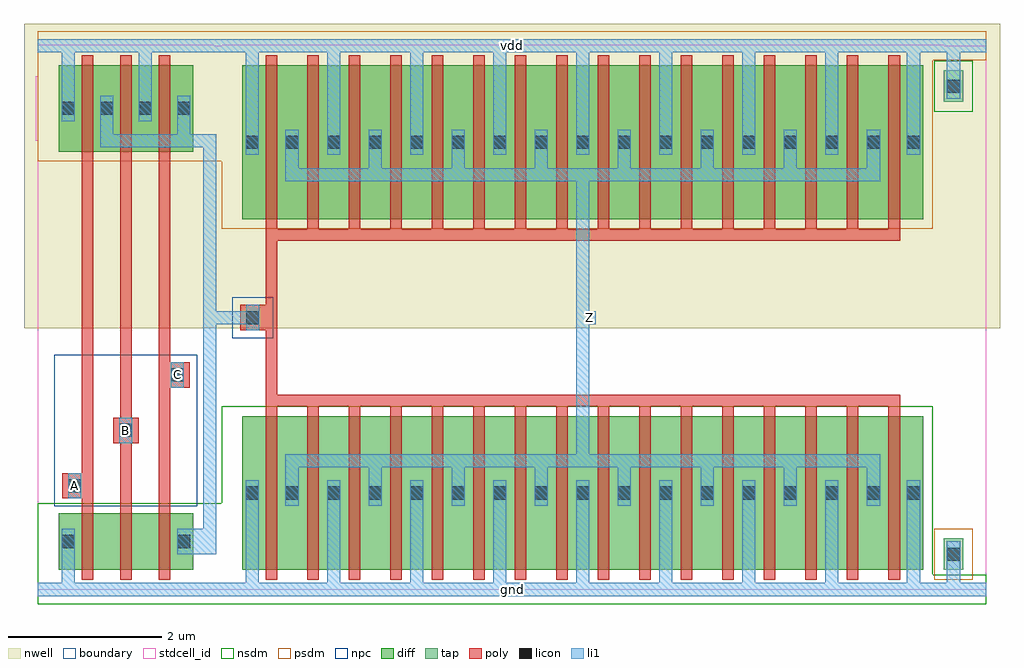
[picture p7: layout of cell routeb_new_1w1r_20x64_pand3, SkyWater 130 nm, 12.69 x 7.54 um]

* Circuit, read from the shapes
.subckt routeb_new_1w1r_20x64_pand3 A B C Z gnd vdd
XM1 routeb_new_1w1r_20x64_pnand3_0/routeb_new_1w1r_20x64_nmos_m1_w0_740_sli_dactive_3/D A gnd gnd sky130_fd_pr__nfet_01v8 w=0.74 l=0.15
XM2 routeb_new_1w1r_20x64_pnand3_0/routeb_new_1w1r_20x64_nmos_m1_w0_740_sactive_dactive_4/D B routeb_new_1w1r_20x64_pnand3_0/routeb_new_1w1r_20x64_nmos_m1_w0_740_sli_dactive_3/D gnd sky130_fd_pr__nfet_01v8 w=0.74 l=0.15
XM3 routeb_new_1w1r_20x64_pdriver_2_1/A C routeb_new_1w1r_20x64_pnand3_0/routeb_new_1w1r_20x64_nmos_m1_w0_740_sactive_dactive_4/D gnd sky130_fd_pr__nfet_01v8 w=0.74 l=0.15
XM4 Z routeb_new_1w1r_20x64_pdriver_2_1/A gnd gnd sky130_fd_pr__nfet_01v8 w=2 l=0.15 m=16
XM5 routeb_new_1w1r_20x64_pdriver_2_1/A A vdd vdd sky130_fd_pr__pfet_01v8 w=1.12 l=0.15
XM6 vdd B routeb_new_1w1r_20x64_pdriver_2_1/A vdd sky130_fd_pr__pfet_01v8 w=1.12 l=0.15
XM7 routeb_new_1w1r_20x64_pdriver_2_1/A C vdd vdd sky130_fd_pr__pfet_01v8 w=1.12 l=0.15
XM8 Z routeb_new_1w1r_20x64_pdriver_2_1/A vdd vdd sky130_fd_pr__pfet_01v8 w=2 l=0.15 m=16
.ends

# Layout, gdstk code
import gdstk
lib = gdstk.Library(unit=1e-6, precision=1e-09)
def R(c, l, rs):  # rectangles x0, y0, x1, y1
    for r in rs: c.add(gdstk.rectangle(r[:2], r[2:], *l))
def A(c, l, x, y, w, h, nx, ny, dx, dy):  # array of equal rectangles
    R(c, l, [(x+i*dx, y+j*dy, x+i*dx+w, y+j*dy+h) for i in range(nx) for j in range(ny)])
nwell = (64, 20)
diff = (65, 20)
tap = (65, 44)
poly = (66, 20)
licon = (66, 44)
li1 = (67, 20)
stdcell_id = (81, 4)
nsdm = (93, 44)
psdm = (94, 20)
npc = (95, 20)
boundary = (235, 4)

routeb_new_1w1r_20x64_co = lib.new_cell('routeb_new_1w1r_20x64_contact_11')
R(routeb_new_1w1r_20x64_co, nwell, [(-0.295,-0.255,0.545,0.585)])
R(routeb_new_1w1r_20x64_co, diff, [(0,0.02,0.25,0.31)])
R(routeb_new_1w1r_20x64_co, licon, [(0.04,0.08,0.21,0.25)])
R(routeb_new_1w1r_20x64_co, li1, [(0.04,0,0.21,0.33)])
R(routeb_new_1w1r_20x64_co, stdcell_id, [(-0.295,-0.255,0.545,0.585)])
R(routeb_new_1w1r_20x64_co, psdm, [(-0.125,-0.105,0.375,0.435)])
R(routeb_new_1w1r_20x64_co, boundary, [(-0.295,-0.255,0.545,0.585)])

routeb_new_1w1r_20x64_pm = lib.new_cell('routeb_new_1w1r_20x64_pmos_m1_w1_120_sli_dli')
R(routeb_new_1w1r_20x64_pm, nwell, [(-0.27,-0.27,1.02,1.39)])
R(routeb_new_1w1r_20x64_pm, diff, [(0,0,0.75,1.12)])
R(routeb_new_1w1r_20x64_pm, poly, [(0.3,-0.13,0.45,1.25), (0.3,-0.13,0.45,1.25)])
R(routeb_new_1w1r_20x64_pm, li1, [(0.04,0.395,0.21,0.725), (0.54,0.395,0.71,0.725)])
R(routeb_new_1w1r_20x64_pm, stdcell_id, [(-0.27,-0.27,1.02,1.39)])
R(routeb_new_1w1r_20x64_pm, psdm, [(-0.125,-0.125,0.875,1.245)])
R(routeb_new_1w1r_20x64_pm, boundary, [(-0.27,-0.27,1.02,1.39)])
routeb_new_1w1r_20x64_pm.add(gdstk.Reference(routeb_new_1w1r_20x64_co, (0,0.395)))
routeb_new_1w1r_20x64_pm.add(gdstk.Reference(routeb_new_1w1r_20x64_co, (0.5,0.395)))
routeb_new_1w1r_20x64_pm.add(gdstk.Label('G', (0.375,0.56), layer=66, texttype=5))
routeb_new_1w1r_20x64_pm.add(gdstk.Label('S', (0.125,0.56), layer=67, texttype=5))
routeb_new_1w1r_20x64_pm.add(gdstk.Label('D', (0.625,0.56), layer=67, texttype=5))

c_routeb_new_1w1r_20x64_co = lib.new_cell('routeb_new_1w1r_20x64_contact_10')
R(c_routeb_new_1w1r_20x64_co, diff, [(0,0.02,0.25,0.31)])
R(c_routeb_new_1w1r_20x64_co, licon, [(0.04,0.08,0.21,0.25)])
R(c_routeb_new_1w1r_20x64_co, li1, [(0.04,0,0.21,0.33)])
R(c_routeb_new_1w1r_20x64_co, stdcell_id, [(-0.125,-0.105,0.375,0.435)])
R(c_routeb_new_1w1r_20x64_co, nsdm, [(-0.125,-0.105,0.375,0.435)])
R(c_routeb_new_1w1r_20x64_co, boundary, [(-0.125,-0.105,0.375,0.435)])

routeb_new_1w1r_20x64_nm = lib.new_cell('routeb_new_1w1r_20x64_nmos_m1_w0_740_sli_dactive')
R(routeb_new_1w1r_20x64_nm, diff, [(0,0,0.75,0.74), (0.55,0.295,0.7,0.445)])
R(routeb_new_1w1r_20x64_nm, poly, [(0.3,-0.13,0.45,0.87), (0.3,-0.13,0.45,0.87)])
R(routeb_new_1w1r_20x64_nm, li1, [(0.04,0.205,0.21,0.535)])
R(routeb_new_1w1r_20x64_nm, stdcell_id, [(-0.125,-0.13,0.875,0.87)])
R(routeb_new_1w1r_20x64_nm, nsdm, [(-0.125,-0.125,0.875,0.865)])
R(routeb_new_1w1r_20x64_nm, boundary, [(-0.125,-0.13,0.875,0.87)])
routeb_new_1w1r_20x64_nm.add(gdstk.Reference(c_routeb_new_1w1r_20x64_co, (0,0.205)))
routeb_new_1w1r_20x64_nm.add(gdstk.Label('G', (0.375,0.37), layer=66, texttype=5))
routeb_new_1w1r_20x64_nm.add(gdstk.Label('S', (0.125,0.37), layer=67, texttype=5))
routeb_new_1w1r_20x64_nm.add(gdstk.Label('D', (0.625,0.37), layer=65, texttype=5))

c_routeb_new_1w1r_20x64_nm = lib.new_cell('routeb_new_1w1r_20x64_nmos_m1_w0_740_sactive_dactive')
R(c_routeb_new_1w1r_20x64_nm, diff, [(0,0,0.75,0.74), (0.05,0.295,0.2,0.445), (0.55,0.295,0.7,0.445)])
R(c_routeb_new_1w1r_20x64_nm, poly, [(0.3,-0.13,0.45,0.87), (0.3,-0.13,0.45,0.87)])
R(c_routeb_new_1w1r_20x64_nm, stdcell_id, [(-0.125,-0.13,0.875,0.87)])
R(c_routeb_new_1w1r_20x64_nm, nsdm, [(-0.125,-0.125,0.875,0.865)])
R(c_routeb_new_1w1r_20x64_nm, boundary, [(-0.125,-0.13,0.875,0.87)])
c_routeb_new_1w1r_20x64_nm.add(gdstk.Label('G', (0.375,0.37), layer=66, texttype=5))
c_routeb_new_1w1r_20x64_nm.add(gdstk.Label('S', (0.125,0.37), layer=65, texttype=5))
c_routeb_new_1w1r_20x64_nm.add(gdstk.Label('D', (0.625,0.37), layer=65, texttype=5))

c_routeb_new_1w1r_20x64_nm_ = lib.new_cell('routeb_new_1w1r_20x64_nmos_m1_w0_740_sactive_dli')
R(c_routeb_new_1w1r_20x64_nm_, diff, [(0,0,0.75,0.74), (0.05,0.295,0.2,0.445)])
R(c_routeb_new_1w1r_20x64_nm_, poly, [(0.3,-0.13,0.45,0.87), (0.3,-0.13,0.45,0.87)])
R(c_routeb_new_1w1r_20x64_nm_, li1, [(0.54,0.205,0.71,0.535)])
R(c_routeb_new_1w1r_20x64_nm_, stdcell_id, [(-0.125,-0.13,0.875,0.87)])
R(c_routeb_new_1w1r_20x64_nm_, nsdm, [(-0.125,-0.125,0.875,0.865)])
R(c_routeb_new_1w1r_20x64_nm_, boundary, [(-0.125,-0.13,0.875,0.87)])
c_routeb_new_1w1r_20x64_nm_.add(gdstk.Reference(c_routeb_new_1w1r_20x64_co, (0.5,0.205)))
c_routeb_new_1w1r_20x64_nm_.add(gdstk.Label('G', (0.375,0.37), layer=66, texttype=5))
c_routeb_new_1w1r_20x64_nm_.add(gdstk.Label('S', (0.125,0.37), layer=65, texttype=5))
c_routeb_new_1w1r_20x64_nm_.add(gdstk.Label('D', (0.625,0.37), layer=67, texttype=5))

c_routeb_new_1w1r_20x64_co_ = lib.new_cell('routeb_new_1w1r_20x64_contact_15')
R(c_routeb_new_1w1r_20x64_co_, poly, [(0,0,0.33,0.33)])
R(c_routeb_new_1w1r_20x64_co_, licon, [(0.08,0.08,0.25,0.25)])
R(c_routeb_new_1w1r_20x64_co_, li1, [(0.08,0,0.25,0.33)])
R(c_routeb_new_1w1r_20x64_co_, stdcell_id, [(-0.1,-0.1,0.43,0.43)])
R(c_routeb_new_1w1r_20x64_co_, npc, [(-0.1,-0.1,0.43,0.43)])
R(c_routeb_new_1w1r_20x64_co_, boundary, [(-0.1,-0.1,0.43,0.43)])

routeb_new_1w1r_20x64_pn = lib.new_cell('routeb_new_1w1r_20x64_pnand3')
R(routeb_new_1w1r_20x64_pn, nwell, [(-0.18,3.395,2.57,7.355)])
A(routeb_new_1w1r_20x64_pn, poly, 0.57, 1.125, 0.15, 4.44, 3, 1, 0.5, 0)
R(routeb_new_1w1r_20x64_pn, poly, [(0.48,1.185,0.57,1.515), (1.07,1.905,1.145,2.235), (1.57,2.625,1.81,2.955)])
R(routeb_new_1w1r_20x64_pn, li1, [(0,-0.085,2.39,0.085), (0.31,-0.085,0.48,0.46), (1.895,0.46,2.235,0.79), (2.15,0.46,2.32,5.835), (0.395,1.185,0.565,1.515), (1.06,1.905,1.23,2.235), (1.725,2.625,1.895,2.955), (0.81,5.75,0.98,5.92), (0.895,5.75,2.235,5.92), (1.81,5.75,1.98,5.92), (1.895,5.75,2.235,5.92), (2.15,5.75,2.32,5.92), (0.81,5.835,0.98,6.255), (1.81,5.835,1.98,6.255), (0.31,6.09,0.48,7.155), (1.31,6.09,1.48,7.155), (0,6.985,2.39,7.155)])
R(routeb_new_1w1r_20x64_pn, stdcell_id, [(0,0,2.39,7.07), (0,0,2.39,7.07)])
R(routeb_new_1w1r_20x64_pn, nsdm, [(0,-0.19,2.39,0.19), (0,0,2.39,1.12)])
R(routeb_new_1w1r_20x64_pn, psdm, [(0,5.57,2.39,7.07), (0,6.88,2.39,7.26)])
R(routeb_new_1w1r_20x64_pn, npc, [(0.215,1.085,2.075,3.055)])
R(routeb_new_1w1r_20x64_pn, boundary, [(0,0,2.39,7.07), (0,0,2.39,7.07)])
routeb_new_1w1r_20x64_pn.add(gdstk.Reference(routeb_new_1w1r_20x64_pm, (0.27,5.695)))
routeb_new_1w1r_20x64_pn.add(gdstk.Reference(routeb_new_1w1r_20x64_pm, (0.77,5.695)))
routeb_new_1w1r_20x64_pn.add(gdstk.Reference(routeb_new_1w1r_20x64_pm, (1.27,5.695)))
routeb_new_1w1r_20x64_pn.add(gdstk.Reference(routeb_new_1w1r_20x64_nm, (0.27,0.255)))
routeb_new_1w1r_20x64_pn.add(gdstk.Reference(c_routeb_new_1w1r_20x64_nm, (0.77,0.255)))
routeb_new_1w1r_20x64_pn.add(gdstk.Reference(c_routeb_new_1w1r_20x64_nm_, (1.27,0.255)))
routeb_new_1w1r_20x64_pn.add(gdstk.Reference(c_routeb_new_1w1r_20x64_co_, (0.315,1.185)))
routeb_new_1w1r_20x64_pn.add(gdstk.Reference(c_routeb_new_1w1r_20x64_co_, (0.98,1.905)))
routeb_new_1w1r_20x64_pn.add(gdstk.Reference(c_routeb_new_1w1r_20x64_co_, (1.645,2.625)))
routeb_new_1w1r_20x64_pn.add(gdstk.Label('A', (0.48,1.35), layer=67, texttype=5))
routeb_new_1w1r_20x64_pn.add(gdstk.Label('B', (1.145,2.07), layer=67, texttype=5))
routeb_new_1w1r_20x64_pn.add(gdstk.Label('C', (1.81,2.79), layer=67, texttype=5))
routeb_new_1w1r_20x64_pn.add(gdstk.Label('Z', (2.235,5.835), layer=67, texttype=5))
routeb_new_1w1r_20x64_pn.add(gdstk.Label('gnd', (1.195,0), layer=67, texttype=5))
routeb_new_1w1r_20x64_pn.add(gdstk.Label('vdd', (1.195,7.07), layer=67, texttype=5))

c_routeb_new_1w1r_20x64_pm = lib.new_cell('routeb_new_1w1r_20x64_pmos_m16_w2_000_sli_dli_da_p')
R(c_routeb_new_1w1r_20x64_pm, nwell, [(-0.27,-0.27,9.12,2.27)])
R(c_routeb_new_1w1r_20x64_pm, diff, [(0,0,8.85,2)])
A(c_routeb_new_1w1r_20x64_pm, poly, 0.3, -0.13, 0.15, 2.26, 16, 1, 0.54, 0)
R(c_routeb_new_1w1r_20x64_pm, poly, [(0.3,-0.28,8.55,-0.13)])
A(c_routeb_new_1w1r_20x64_pm, li1, 0.56, 0.58, 0.17, 0.42, 8, 1, 1.08, 0)
A(c_routeb_new_1w1r_20x64_pm, li1, 1.1, 0.835, 0.17, 0.33, 7, 1, 1.08, 0)
R(c_routeb_new_1w1r_20x64_pm, li1, [(0.56,0.495,8.29,0.665), (0.04,0.835,0.21,1.165), (8.64,0.835,8.81,1.165)])
R(c_routeb_new_1w1r_20x64_pm, stdcell_id, [(-0.27,-0.28,9.12,2.27)])
R(c_routeb_new_1w1r_20x64_pm, psdm, [(-0.125,-0.125,8.975,2.125)])
R(c_routeb_new_1w1r_20x64_pm, boundary, [(-0.27,-0.28,9.12,2.27)])
c_routeb_new_1w1r_20x64_pm.add(gdstk.Reference(routeb_new_1w1r_20x64_co, (0,0.835)))
c_routeb_new_1w1r_20x64_pm.add(gdstk.Reference(routeb_new_1w1r_20x64_co, (0.52,0.835)))
c_routeb_new_1w1r_20x64_pm.add(gdstk.Reference(routeb_new_1w1r_20x64_co, (1.06,0.835)))
c_routeb_new_1w1r_20x64_pm.add(gdstk.Reference(routeb_new_1w1r_20x64_co, (1.6,0.835)))
c_routeb_new_1w1r_20x64_pm.add(gdstk.Reference(routeb_new_1w1r_20x64_co, (2.14,0.835)))
c_routeb_new_1w1r_20x64_pm.add(gdstk.Reference(routeb_new_1w1r_20x64_co, (2.68,0.835)))
c_routeb_new_1w1r_20x64_pm.add(gdstk.Reference(routeb_new_1w1r_20x64_co, (3.22,0.835)))
c_routeb_new_1w1r_20x64_pm.add(gdstk.Reference(routeb_new_1w1r_20x64_co, (3.76,0.835)))
c_routeb_new_1w1r_20x64_pm.add(gdstk.Reference(routeb_new_1w1r_20x64_co, (4.3,0.835)))
c_routeb_new_1w1r_20x64_pm.add(gdstk.Reference(routeb_new_1w1r_20x64_co, (4.84,0.835)))
c_routeb_new_1w1r_20x64_pm.add(gdstk.Reference(routeb_new_1w1r_20x64_co, (5.38,0.835)))
c_routeb_new_1w1r_20x64_pm.add(gdstk.Reference(routeb_new_1w1r_20x64_co, (5.92,0.835)))
c_routeb_new_1w1r_20x64_pm.add(gdstk.Reference(routeb_new_1w1r_20x64_co, (6.46,0.835)))
c_routeb_new_1w1r_20x64_pm.add(gdstk.Reference(routeb_new_1w1r_20x64_co, (7,0.835)))
c_routeb_new_1w1r_20x64_pm.add(gdstk.Reference(routeb_new_1w1r_20x64_co, (7.54,0.835)))
c_routeb_new_1w1r_20x64_pm.add(gdstk.Reference(routeb_new_1w1r_20x64_co, (8.08,0.835)))
c_routeb_new_1w1r_20x64_pm.add(gdstk.Reference(routeb_new_1w1r_20x64_co, (8.6,0.835)))
c_routeb_new_1w1r_20x64_pm.add(gdstk.Label('G', (4.425,-0.205), layer=66, texttype=5))
c_routeb_new_1w1r_20x64_pm.add(gdstk.Label('S', (4.425,1), layer=67, texttype=5))
c_routeb_new_1w1r_20x64_pm.add(gdstk.Label('S', (8.725,1), layer=67, texttype=5))
c_routeb_new_1w1r_20x64_pm.add(gdstk.Label('S', (3.345,1), layer=67, texttype=5))
c_routeb_new_1w1r_20x64_pm.add(gdstk.Label('S', (7.665,1), layer=67, texttype=5))
c_routeb_new_1w1r_20x64_pm.add(gdstk.Label('S', (6.585,1), layer=67, texttype=5))
c_routeb_new_1w1r_20x64_pm.add(gdstk.Label('S', (2.265,1), layer=67, texttype=5))
c_routeb_new_1w1r_20x64_pm.add(gdstk.Label('S', (1.185,1), layer=67, texttype=5))
c_routeb_new_1w1r_20x64_pm.add(gdstk.Label('S', (5.505,1), layer=67, texttype=5))
c_routeb_new_1w1r_20x64_pm.add(gdstk.Label('S', (0.125,1), layer=67, texttype=5))
c_routeb_new_1w1r_20x64_pm.add(gdstk.Label('D', (4.425,0.58), layer=67, texttype=5))

c_routeb_new_1w1r_20x64_nm__ = lib.new_cell('routeb_new_1w1r_20x64_nmos_m16_w2_000_sli_dli_da_p')
R(c_routeb_new_1w1r_20x64_nm__, diff, [(0,0,8.85,2)])
A(c_routeb_new_1w1r_20x64_nm__, poly, 0.3, -0.13, 0.15, 2.26, 16, 1, 0.54, 0)
R(c_routeb_new_1w1r_20x64_nm__, poly, [(0.3,2.13,8.55,2.28)])
A(c_routeb_new_1w1r_20x64_nm__, li1, 1.1, 0.835, 0.17, 0.33, 7, 1, 1.08, 0)
A(c_routeb_new_1w1r_20x64_nm__, li1, 0.56, 1, 0.17, 0.42, 8, 1, 1.08, 0)
R(c_routeb_new_1w1r_20x64_nm__, li1, [(0.04,0.835,0.21,1.165), (8.64,0.835,8.81,1.165), (0.56,1.335,8.29,1.505)])
R(c_routeb_new_1w1r_20x64_nm__, stdcell_id, [(-0.125,-0.13,8.975,2.28)])
R(c_routeb_new_1w1r_20x64_nm__, nsdm, [(-0.125,-0.125,8.975,2.125)])
R(c_routeb_new_1w1r_20x64_nm__, boundary, [(-0.125,-0.13,8.975,2.28)])
c_routeb_new_1w1r_20x64_nm__.add(gdstk.Reference(c_routeb_new_1w1r_20x64_co, (0,0.835)))
c_routeb_new_1w1r_20x64_nm__.add(gdstk.Reference(c_routeb_new_1w1r_20x64_co, (0.52,0.835)))
c_routeb_new_1w1r_20x64_nm__.add(gdstk.Reference(c_routeb_new_1w1r_20x64_co, (1.06,0.835)))
c_routeb_new_1w1r_20x64_nm__.add(gdstk.Reference(c_routeb_new_1w1r_20x64_co, (1.6,0.835)))
c_routeb_new_1w1r_20x64_nm__.add(gdstk.Reference(c_routeb_new_1w1r_20x64_co, (2.14,0.835)))
c_routeb_new_1w1r_20x64_nm__.add(gdstk.Reference(c_routeb_new_1w1r_20x64_co, (2.68,0.835)))
c_routeb_new_1w1r_20x64_nm__.add(gdstk.Reference(c_routeb_new_1w1r_20x64_co, (3.22,0.835)))
c_routeb_new_1w1r_20x64_nm__.add(gdstk.Reference(c_routeb_new_1w1r_20x64_co, (3.76,0.835)))
c_routeb_new_1w1r_20x64_nm__.add(gdstk.Reference(c_routeb_new_1w1r_20x64_co, (4.3,0.835)))
c_routeb_new_1w1r_20x64_nm__.add(gdstk.Reference(c_routeb_new_1w1r_20x64_co, (4.84,0.835)))
c_routeb_new_1w1r_20x64_nm__.add(gdstk.Reference(c_routeb_new_1w1r_20x64_co, (5.38,0.835)))
c_routeb_new_1w1r_20x64_nm__.add(gdstk.Reference(c_routeb_new_1w1r_20x64_co, (5.92,0.835)))
c_routeb_new_1w1r_20x64_nm__.add(gdstk.Reference(c_routeb_new_1w1r_20x64_co, (6.46,0.835)))
c_routeb_new_1w1r_20x64_nm__.add(gdstk.Reference(c_routeb_new_1w1r_20x64_co, (7,0.835)))
c_routeb_new_1w1r_20x64_nm__.add(gdstk.Reference(c_routeb_new_1w1r_20x64_co, (7.54,0.835)))
c_routeb_new_1w1r_20x64_nm__.add(gdstk.Reference(c_routeb_new_1w1r_20x64_co, (8.08,0.835)))
c_routeb_new_1w1r_20x64_nm__.add(gdstk.Reference(c_routeb_new_1w1r_20x64_co, (8.6,0.835)))
c_routeb_new_1w1r_20x64_nm__.add(gdstk.Label('G', (4.425,2.205), layer=66, texttype=5))
c_routeb_new_1w1r_20x64_nm__.add(gdstk.Label('S', (4.425,1), layer=67, texttype=5))
c_routeb_new_1w1r_20x64_nm__.add(gdstk.Label('S', (8.725,1), layer=67, texttype=5))
c_routeb_new_1w1r_20x64_nm__.add(gdstk.Label('S', (3.345,1), layer=67, texttype=5))
c_routeb_new_1w1r_20x64_nm__.add(gdstk.Label('S', (7.665,1), layer=67, texttype=5))
c_routeb_new_1w1r_20x64_nm__.add(gdstk.Label('S', (6.585,1), layer=67, texttype=5))
c_routeb_new_1w1r_20x64_nm__.add(gdstk.Label('S', (2.265,1), layer=67, texttype=5))
c_routeb_new_1w1r_20x64_nm__.add(gdstk.Label('S', (1.185,1), layer=67, texttype=5))
c_routeb_new_1w1r_20x64_nm__.add(gdstk.Label('S', (5.505,1), layer=67, texttype=5))
c_routeb_new_1w1r_20x64_nm__.add(gdstk.Label('S', (0.125,1), layer=67, texttype=5))
c_routeb_new_1w1r_20x64_nm__.add(gdstk.Label('D', (4.425,1.42), layer=67, texttype=5))

c_routeb_new_1w1r_20x64_co__ = lib.new_cell('routeb_new_1w1r_20x64_contact_24')
R(c_routeb_new_1w1r_20x64_co__, nwell, [(-0.295,-0.215,0.545,0.625)])
R(c_routeb_new_1w1r_20x64_co__, tap, [(0,0,0.25,0.41)])
R(c_routeb_new_1w1r_20x64_co__, licon, [(0.04,0.12,0.21,0.29)])
R(c_routeb_new_1w1r_20x64_co__, li1, [(0.04,0.04,0.21,0.37)])
R(c_routeb_new_1w1r_20x64_co__, stdcell_id, [(-0.295,-0.215,0.545,0.625)])
R(c_routeb_new_1w1r_20x64_co__, nsdm, [(-0.125,-0.125,0.375,0.535)])
R(c_routeb_new_1w1r_20x64_co__, boundary, [(-0.295,-0.215,0.545,0.625)])

c_routeb_new_1w1r_20x64_co___ = lib.new_cell('routeb_new_1w1r_20x64_contact_25')
R(c_routeb_new_1w1r_20x64_co___, tap, [(0,0,0.25,0.41)])
R(c_routeb_new_1w1r_20x64_co___, licon, [(0.04,0.12,0.21,0.29)])
R(c_routeb_new_1w1r_20x64_co___, li1, [(0.04,0.04,0.21,0.37)])
R(c_routeb_new_1w1r_20x64_co___, stdcell_id, [(-0.125,-0.125,0.375,0.535)])
R(c_routeb_new_1w1r_20x64_co___, psdm, [(-0.125,-0.125,0.375,0.535)])
R(c_routeb_new_1w1r_20x64_co___, boundary, [(-0.125,-0.125,0.375,0.535)])

routeb_new_1w1r_20x64_pi = lib.new_cell('routeb_new_1w1r_20x64_pinv_11')
R(routeb_new_1w1r_20x64_pi, nwell, [(-0.18,3.395,10.12,7.355)])
R(routeb_new_1w1r_20x64_pi, poly, [(0.57,2.535,0.72,4.535), (0.405,3.37,0.57,3.7)])
A(routeb_new_1w1r_20x64_pi, li1, 1.37, -0.085, 0.17, 1.175, 7, 1, 1.08, 0)
A(routeb_new_1w1r_20x64_pi, li1, 1.37, 5.65, 0.17, 1.505, 7, 1, 1.08, 0)
R(routeb_new_1w1r_20x64_pi, li1, [(0,-0.085,9.94,0.085), (0.31,-0.085,0.48,1.09), (8.91,-0.085,9.08,1.09), (9.43,0,9.6,0.46), (4.61,1.59,4.78,5.48), (0.32,3.37,0.49,3.7), (4.695,3.45,4.865,3.62), (0.31,5.65,0.48,7.155), (8.91,5.65,9.08,7.155), (9.43,6.545,9.6,7.07), (0,6.985,9.94,7.155)])
R(routeb_new_1w1r_20x64_pi, stdcell_id, [(0,0,9.94,7.07), (0,0,9.94,7.07)])
R(routeb_new_1w1r_20x64_pi, nsdm, [(0,-0.19,9.94,0.19), (0,0,9.245,2.38)])
R(routeb_new_1w1r_20x64_pi, psdm, [(0,4.69,9.245,7.07), (0,6.88,9.94,7.26)])
R(routeb_new_1w1r_20x64_pi, boundary, [(0,0,9.94,7.07), (0,0,9.94,7.07)])
routeb_new_1w1r_20x64_pi.add(gdstk.Reference(c_routeb_new_1w1r_20x64_pm, (0.27,4.815)))
routeb_new_1w1r_20x64_pi.add(gdstk.Reference(c_routeb_new_1w1r_20x64_nm__, (0.27,0.255)))
routeb_new_1w1r_20x64_pi.add(gdstk.Reference(c_routeb_new_1w1r_20x64_co__, (9.39,6.34)))
routeb_new_1w1r_20x64_pi.add(gdstk.Reference(c_routeb_new_1w1r_20x64_co___, (9.39,0.255)))
routeb_new_1w1r_20x64_pi.add(gdstk.Reference(c_routeb_new_1w1r_20x64_co_, (0.24,3.37)))
routeb_new_1w1r_20x64_pi.add(gdstk.Label('A', (0.405,3.535), layer=67, texttype=5))
routeb_new_1w1r_20x64_pi.add(gdstk.Label('Z', (4.78,3.535), layer=67, texttype=5))
routeb_new_1w1r_20x64_pi.add(gdstk.Label('gnd', (4.97,0), layer=67, texttype=5))
routeb_new_1w1r_20x64_pi.add(gdstk.Label('vdd', (4.97,7.07), layer=67, texttype=5))

routeb_new_1w1r_20x64_pd = lib.new_cell('routeb_new_1w1r_20x64_pdriver_2')
R(routeb_new_1w1r_20x64_pd, nwell, [(-0.18,3.395,10.12,7.355)])
R(routeb_new_1w1r_20x64_pd, li1, [(0,-0.085,9.94,0.085), (0.32,3.37,0.49,3.7), (4.695,3.45,4.865,3.62), (0,6.985,9.94,7.155)])
R(routeb_new_1w1r_20x64_pd, stdcell_id, [(0,0,9.94,7.07), (0,0,9.94,7.07)])
R(routeb_new_1w1r_20x64_pd, nsdm, [(0,-0.19,9.94,0.19)])
R(routeb_new_1w1r_20x64_pd, psdm, [(0,6.88,9.94,7.26)])
R(routeb_new_1w1r_20x64_pd, boundary, [(0,0,9.94,7.07), (0,0,9.94,7.07)])
routeb_new_1w1r_20x64_pd.add(gdstk.Reference(routeb_new_1w1r_20x64_pi, (0,0)))
routeb_new_1w1r_20x64_pd.add(gdstk.Label('Z', (4.78,3.535), layer=67, texttype=5))
routeb_new_1w1r_20x64_pd.add(gdstk.Label('A', (0.405,3.535), layer=67, texttype=5))
routeb_new_1w1r_20x64_pd.add(gdstk.Label('gnd', (4.97,0), layer=67, texttype=5))
routeb_new_1w1r_20x64_pd.add(gdstk.Label('vdd', (4.97,7.07), layer=67, texttype=5))

routeb_new_1w1r_20x64_pa = lib.new_cell('routeb_new_1w1r_20x64_pand3')
R(routeb_new_1w1r_20x64_pa, li1, [(0,-0.085,12.33,0.085), (0.395,1.185,0.565,1.515), (1.06,1.905,1.23,2.235), (1.725,2.625,1.895,2.955), (2.15,3.45,2.32,3.62), (2.235,3.45,2.795,3.62), (7.085,3.45,7.255,3.62), (2.15,3.535,2.32,5.835), (0,6.985,12.33,7.155)])
R(routeb_new_1w1r_20x64_pa, stdcell_id, [(0,0,12.33,7.07), (0,0,12.33,7.07)])
R(routeb_new_1w1r_20x64_pa, boundary, [(0,0,12.33,7.07), (0,0,12.33,7.07)])
routeb_new_1w1r_20x64_pa.add(gdstk.Reference(routeb_new_1w1r_20x64_pn, (0,0)))
routeb_new_1w1r_20x64_pa.add(gdstk.Reference(routeb_new_1w1r_20x64_pd, (2.39,0)))
routeb_new_1w1r_20x64_pa.add(gdstk.Label('Z', (7.17,3.535), layer=67, texttype=5))
routeb_new_1w1r_20x64_pa.add(gdstk.Label('A', (0.48,1.35), layer=67, texttype=5))
routeb_new_1w1r_20x64_pa.add(gdstk.Label('B', (1.145,2.07), layer=67, texttype=5))
routeb_new_1w1r_20x64_pa.add(gdstk.Label('C', (1.81,2.79), layer=67, texttype=5))
routeb_new_1w1r_20x64_pa.add(gdstk.Label('gnd', (6.165,0), layer=67, texttype=5))
routeb_new_1w1r_20x64_pa.add(gdstk.Label('vdd', (6.165,7.07), layer=67, texttype=5))

lib.write_gds('routeb_new_1w1r_20x64_pand3.gds')
